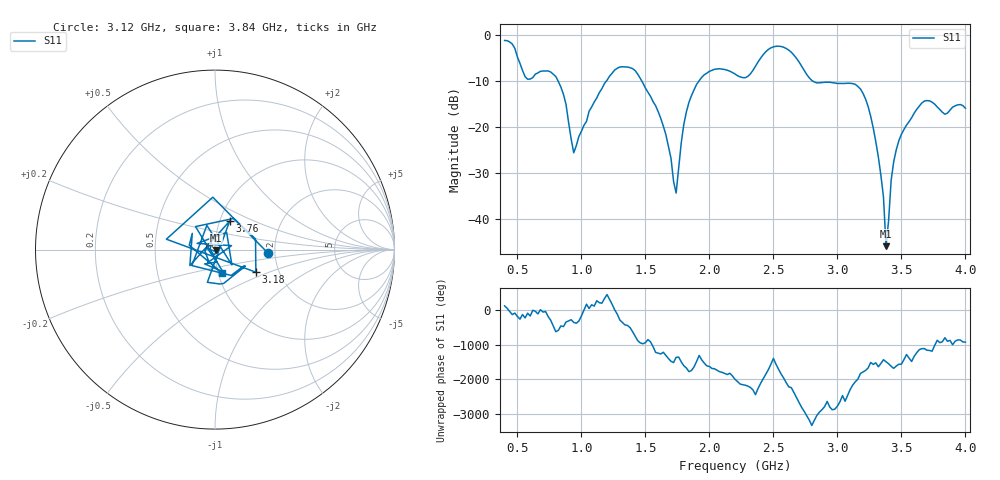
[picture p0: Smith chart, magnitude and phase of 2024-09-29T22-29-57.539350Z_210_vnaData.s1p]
!Created with skrf (http://scikit-rf.org).
# Hz S RI R 50.0
!freq ReS11 ImS11
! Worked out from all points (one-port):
!   181 points, 400 MHz to 4 GHz, reference 50 ohm
!   lowest |S11| = -45.8 dB at 3.38 GHz (marker M1), VSWR 1.01, Z = 50.3 - j0.394 ohm
!   |S11| at or under -10 dB: 818.5 MHz to 1.194 GHz (375.8 MHz wide, 37.3 % of centre); 1.472 GHz to 1.918 GHz (445.2 MHz wide, 26.3 % of centre); 2.809 GHz to end of sweep
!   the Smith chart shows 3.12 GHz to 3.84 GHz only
!   S11 on the Smith chart (normalised r, x): 3.12 GHz: 1.84, -0.08; 3.18 GHz: 1.52, -0.41; 3.76 GHz: 1.11, +0.36; 3.84 GHz: 1.05, -0.28
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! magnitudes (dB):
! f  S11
! 400 MHz  -1.2
! 580 MHz  -9.6
! 760 MHz  -8.0
! 860 MHz  -12.9
! 940 MHz  -25.6
! 1.3 GHz  -6.9
! 1.42 GHz  -7.7
! 1.58 GHz  -15.3
! 1.66 GHz  -21.6
! 1.74 GHz  -34.3
! 1.76 GHz  -28.9
! 1.82 GHz  -16.7
! 1.9 GHz  -10.7
! 2.2 GHz  -8.4
! 2.5 GHz  -2.6
! 2.66 GHz  -4.3
! 2.82 GHz  -10.2
! 3.1 GHz  -10.5
! 3.12 GHz  -10.5
! 3.18 GHz  -11.7
! 3.32 GHz  -26.5
! 3.36 GHz  -35.1
! 3.38 GHz  -45.8
! 3.44 GHz  -27.5
! 3.56 GHz  -18.8
! 3.76 GHz  -15.0
! 3.84 GHz  -17.2
! 4 GHz  -15.9
